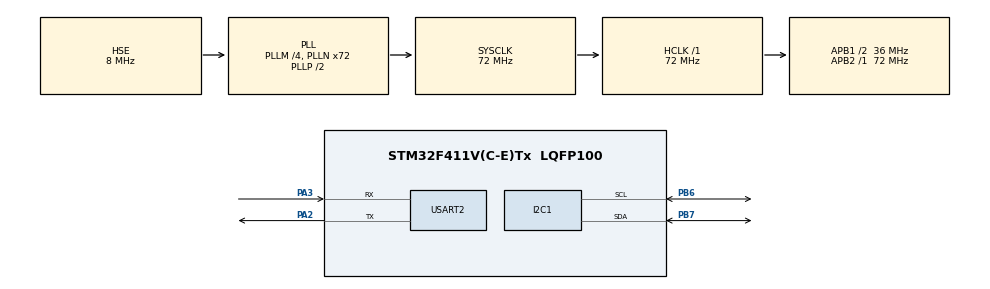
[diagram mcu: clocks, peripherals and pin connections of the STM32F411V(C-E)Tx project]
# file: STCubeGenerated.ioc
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Mcu.Family=STM32F4
Mcu.Name=STM32F411V(C-E)Tx
Mcu.Package=LQFP100
NVIC.PriorityGroup=NVIC_PRIORITYGROUP_4
PA2.Mode=Asynchronous
PA2.Signal=USART2_TX
PA3.Mode=Asynchronous
PA3.Signal=USART2_RX
PB6.Mode=I2C
PB6.Signal=I2C1_SCL
PB7.Mode=I2C
PB7.Signal=I2C1_SDA
PH0\ -\ OSC_IN.Mode=HSE-External-Oscillator
PH0\ -\ OSC_IN.Signal=RCC_OSC_IN
PH1\ -\ OSC_OUT.Mode=HSE-External-Oscillator
PH1\ -\ OSC_OUT.Signal=RCC_OSC_OUT
ProjectManager.HeapSize=0x200
ProjectManager.StackSize=0x400
ProjectManager.TargetToolchain=MDK-ARM V5
RCC.48MHZClocksFreq_Value=36000000
RCC.AHBFreq_Value=72000000
RCC.APB1CLKDivider=RCC_HCLK_DIV2
RCC.APB1Freq_Value=36000000
RCC.APB1TimFreq_Value=72000000
RCC.APB2Freq_Value=72000000
RCC.APB2TimFreq_Value=72000000
RCC.CortexFreq_Value=72000000
RCC.HCLKFreq_Value=72000000
RCC.HSE_VALUE=8000000
RCC.HSI_VALUE=16000000
RCC.LSE_VALUE=32768
RCC.PLLM=4
RCC.PLLN=72
RCC.PLLSourceVirtual=RCC_PLLSOURCE_HSE
RCC.SYSCLKFreq_VALUE=72000000
RCC.SYSCLKSource=RCC_SYSCLKSOURCE_PLLCLK
RCC.VCOOutputFreq_Value=144000000
USART2.VirtualMode=VM_ASYNC
board=custom

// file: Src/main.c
/* USER CODE BEGIN Header */
/**
  ******************************************************************************
  * @file           : main.c
  * @brief          : Main program body
  ******************************************************************************
  * @attention
  *
  * <h2><center>&copy; Copyright (c) 2022 STMicroelectronics.
  * All rights reserved.</center></h2>
  *
  * This software component is licensed by ST under BSD 3-Clause license,
  * the "License"; You may not use this file except in compliance with the
  * License. You may obtain a copy of the License at:
  *                        opensource.org/licenses/BSD-3-Clause
  *
  ******************************************************************************
  */
/* USER CODE END Header */

#include "stdio.h"
#include "main.h"
#include "i2c.h"
#include "usart.h"
#include "gpio.h"

/* USER CODE BEGIN PTD */
#ifdef __GNUC__
  #define PUTCHAR_PROTOTYPE int __io_putchar(int ch)
#else
  #define PUTCHAR_PROTOTYPE int fputc(int ch, FILE *f)
#endif /* __GNUC__ */
/* USER CODE END PTD */

/* USER CODE BEGIN PD */

PUTCHAR_PROTOTYPE
{
HAL_UART_Transmit(&huart2, (uint8_t *)&ch, 1, 0xFFFF);
return ch;
}
/* USER CODE END PD */

void SystemClock_Config(void);

int main(void)
{

  /* MCU Configuration--------------------------------------------------------*/

  /* Reset of all peripherals, Initializes the Flash interface and the Systick. */
  HAL_Init();

  /* Configure the system clock */
  SystemClock_Config();

  /* Initialize all configured peripherals */
  MX_GPIO_Init();
  MX_I2C1_Init();
  MX_USART2_UART_Init();
  /* USER CODE BEGIN 2 */

  lcd_init ();

  lcd_send_string ("HELLO WORLD");

  HAL_Delay(1000);

  lcd_put_cur(1, 0);

  lcd_send_string("from CTECH");

  HAL_Delay(2000);

  lcd_clear ();
  /* USER CODE END 2 */

  /* Infinite loop */
  /* USER CODE BEGIN WHILE */
  while (1)
  {
    //printf("\n");

		/* USER CODE END WHILE */

		//for(i=20;i<100;i++){
		//	lcd1602A_sendData(i);
		//}

    /* USER CODE BEGIN 3 */
		HAL_Delay(1000);
  }
  /* USER CODE END 3 */
}

void SystemClock_Config(void)
{
  RCC_OscInitTypeDef RCC_OscInitStruct = {0};
  RCC_ClkInitTypeDef RCC_ClkInitStruct = {0};

  /** Configure the main internal regulator output voltage
  */
  __HAL_RCC_PWR_CLK_ENABLE();
  __HAL_PWR_VOLTAGESCALING_CONFIG(PWR_REGULATOR_VOLTAGE_SCALE1);
  /** Initializes the CPU, AHB and APB busses clocks
  */
  RCC_OscInitStruct.OscillatorType = RCC_OSCILLATORTYPE_HSE;
  RCC_OscInitStruct.HSEState = RCC_HSE_ON;
  RCC_OscInitStruct.PLL.PLLState = RCC_PLL_ON;
  RCC_OscInitStruct.PLL.PLLSource = RCC_PLLSOURCE_HSE;
  RCC_OscInitStruct.PLL.PLLM = 4;
  RCC_OscInitStruct.PLL.PLLN = 72;
  RCC_OscInitStruct.PLL.PLLP = RCC_PLLP_DIV2;
  RCC_OscInitStruct.PLL.PLLQ = 4;
  if (HAL_RCC_OscConfig(&RCC_OscInitStruct) != HAL_OK)
  {
    Error_Handler();
  }
  /** Initializes the CPU, AHB and APB busses clocks
  */
  RCC_ClkInitStruct.ClockType = RCC_CLOCKTYPE_HCLK|RCC_CLOCKTYPE_SYSCLK
                              |RCC_CLOCKTYPE_PCLK1|RCC_CLOCKTYPE_PCLK2;
  RCC_ClkInitStruct.SYSCLKSource = RCC_SYSCLKSOURCE_PLLCLK;
  RCC_ClkInitStruct.AHBCLKDivider = RCC_SYSCLK_DIV1;
  RCC_ClkInitStruct.APB1CLKDivider = RCC_HCLK_DIV2;
  RCC_ClkInitStruct.APB2CLKDivider = RCC_HCLK_DIV1;

  if (HAL_RCC_ClockConfig(&RCC_ClkInitStruct, FLASH_LATENCY_2) != HAL_OK)
  {
    Error_Handler();
  }
}

void Error_Handler(void)
{
}

/************************ (C) COPYRIGHT STMicroelectronics *****END OF FILE****/
